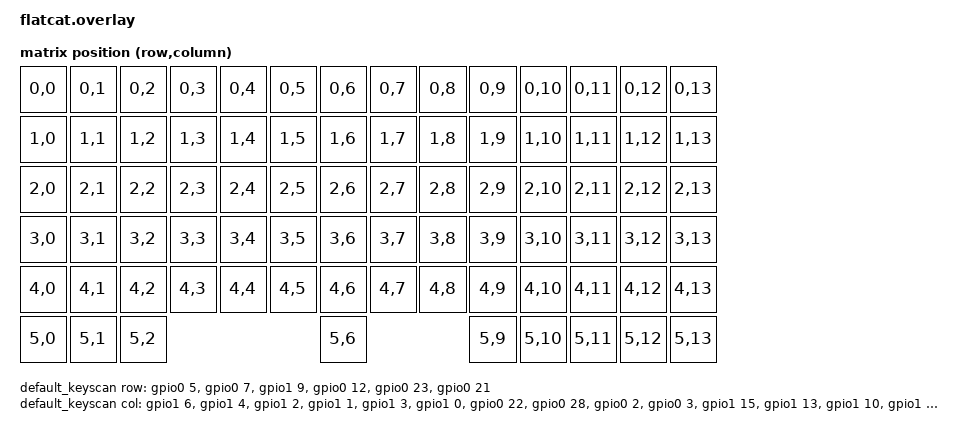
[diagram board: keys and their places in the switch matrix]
#include <dt-bindings/zmk/matrix_transform.h>
#include <dt-bindings/led/led.h>
#include <zephyr/dt-bindings/gpio/gpio.h>

/ {

    chosen {
        zmk,kscan = &default_keyscan;
        zmk,matrix_transform = &default_transform;
        zmk,underglow = &led_strip;
        zmk,battery = &vbatt;
    };

    /* Regulador controlado por GPIO que alimenta la tira WS2812 (P0.29).
       Nombre unico para no colisionar con el EXT_POWER del board. */
    rgb_pro_pwr: rgb_pro_pwr {
        compatible = "regulator-fixed";
        regulator-name = "rgb_pro_pwr";
        enable-gpios = <&gpio0 29 GPIO_ACTIVE_LOW>;
        regulator-boot-on;
    };
    
    default_keyscan: kscan {
        compatible = "zmk,kscan-gpio-matrix";
        label = "default_keyscan";
        diode-direction = "col2row";

        row-gpios
        = <&gpio0 5  (GPIO_ACTIVE_HIGH | GPIO_PULL_DOWN)>
        , <&gpio0 7  (GPIO_ACTIVE_HIGH | GPIO_PULL_DOWN)>
        , <&gpio1 9  (GPIO_ACTIVE_HIGH | GPIO_PULL_DOWN)>
        , <&gpio0 12 (GPIO_ACTIVE_HIGH | GPIO_PULL_DOWN)>
        , <&gpio0 23 (GPIO_ACTIVE_HIGH | GPIO_PULL_DOWN)>
        , <&gpio0 21 (GPIO_ACTIVE_HIGH | GPIO_PULL_DOWN)>
        ;

        col-gpios
        = <&gpio1 6  GPIO_ACTIVE_HIGH>
        , <&gpio1 4  GPIO_ACTIVE_HIGH>
        , <&gpio1 2  GPIO_ACTIVE_HIGH>
        , <&gpio1 1  GPIO_ACTIVE_HIGH>
        , <&gpio1 3  GPIO_ACTIVE_HIGH>
        , <&gpio1 0  GPIO_ACTIVE_HIGH>
        , <&gpio0 22 GPIO_ACTIVE_HIGH>
        , <&gpio0 28 GPIO_ACTIVE_HIGH>
        , <&gpio0 2  GPIO_ACTIVE_HIGH>
        , <&gpio0 3  GPIO_ACTIVE_HIGH>
        , <&gpio1 15 GPIO_ACTIVE_HIGH>
        , <&gpio1 13 GPIO_ACTIVE_HIGH>
        , <&gpio1 10 GPIO_ACTIVE_HIGH>
        , <&gpio1 11 GPIO_ACTIVE_HIGH>
        ;
    };
   
    default_transform: keymap_transform {
        compatible = "zmk,matrix-transform";
        columns = <14>;
        rows = <6>;

        map = <
    RC(0,0)  RC(0,1) RC(0,2) RC(0,3) RC(0,4) RC(0,5) RC(0,6) RC(0,7) RC(0,8) RC(0,9) RC(0,10) RC(0,11) RC(0,12) RC(0,13)
    RC(1,0)  RC(1,1) RC(1,2) RC(1,3) RC(1,4) RC(1,5) RC(1,6) RC(1,7) RC(1,8) RC(1,9) RC(1,10) RC(1,11) RC(1,12) RC(1,13) 
    RC(2,0)  RC(2,1) RC(2,2) RC(2,3) RC(2,4) RC(2,5) RC(2,6) RC(2,7) RC(2,8) RC(2,9) RC(2,10) RC(2,11) RC(2,12) RC(2,13)
    RC(3,0)  RC(3,1) RC(3,2) RC(3,3) RC(3,4) RC(3,5) RC(3,6) RC(3,7) RC(3,8) RC(3,9) RC(3,10) RC(3,11) RC(3,12) RC(3,13)
    RC(4,0)  RC(4,1) RC(4,2) RC(4,3) RC(4,4) RC(4,5) RC(4,6) RC(4,7) RC(4,8) RC(4,9) RC(4,10) RC(4,11) RC(4,12) RC(4,13)
    RC(5,0)  RC(5,1) RC(5,2)                         RC(5,6)                 RC(5,9) RC(5,10) RC(5,11) RC(5,12) RC(5,13)
            >;
    };

    leds {
		compatible = "gpio-leds";
		blue_led: led_0 {
			gpios = <&gpio0 10 GPIO_ACTIVE_LOW>;
			label = "Blue LED";
		};
	};

    behaviors {
        rgb_pro: behavior_rgb_pro {
            compatible = "zmk,behavior-rgb-pro";
            #binding-cells = <2>;
        };
    };

	vbatt: vbatt {
		compatible = "zmk,battery-voltage-divider";
		label = "BATTERY";
		io-channels = <&adc 2>;
		output-ohms = <2000000>;
		full-ohms = <(2000000 + 806000)>;
	};
 
};

&pinctrl {
    spi3_default: spi3_default {
        group1 {
            psels = <NRF_PSEL(SPIM_MOSI, 0, 19)>;
        };
    };

    spi3_sleep: spi3_sleep {
        group1 {
            psels = <NRF_PSEL(SPIM_MOSI, 0, 19)>;
            low-power-enable;
        };
    };
};

&spi3 {
  compatible = "nordic,nrf-spim";
  status = "okay";

  pinctrl-0 = <&spi3_default>;
  pinctrl-1 = <&spi3_sleep>;
  pinctrl-names = "default", "sleep";

  led_strip: ws2812@0 {
    compatible = "worldsemi,ws2812-spi";
    label = "WS2812";

    /* SPI */
    reg = <0>; /* ignored, but necessary for SPI bindings */
    spi-max-frequency = <4000000>;

    /* WS2812 */
    chain-length = <79>; /* number of LEDs */
    spi-one-frame = <0x70>;
    spi-zero-frame = <0x40>;
    color-mapping = <LED_COLOR_ID_GREEN
                          LED_COLOR_ID_RED
                          LED_COLOR_ID_BLUE>;
  };
};
